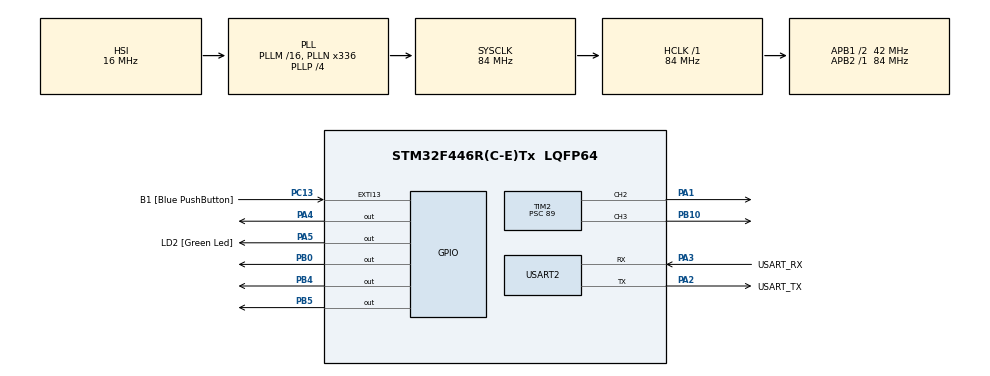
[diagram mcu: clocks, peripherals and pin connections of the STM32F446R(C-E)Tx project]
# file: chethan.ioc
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Mcu.Family=STM32F4
Mcu.Name=STM32F446R(C-E)Tx
Mcu.Package=LQFP64
NVIC.PriorityGroup=NVIC_PRIORITYGROUP_0
PA1.Signal=S_TIM2_CH2
PA13.GPIO_Label=TMS
PA13.Mode=Serial_Wire
PA13.Signal=SYS_JTMS-SWDIO
PA14.GPIO_Label=TCK
PA14.Mode=Serial_Wire
PA14.Signal=SYS_JTCK-SWCLK
PA2.GPIO_Label=USART_TX
PA2.Mode=Asynchronous
PA2.Signal=USART2_TX
PA3.GPIO_Label=USART_RX
PA3.Mode=Asynchronous
PA3.Signal=USART2_RX
PA4.Signal=GPIO_Output
PA5.GPIO_Label=LD2 [Green Led]
PA5.Signal=GPIO_Output
PB0.Signal=GPIO_Output
PB10.Signal=S_TIM2_CH3
PB3.GPIO_Label=SWO
PB3.Signal=SYS_JTDO-SWO
PB4.Signal=GPIO_Output
PB5.Signal=GPIO_Output
PC13.GPIO_Label=B1 [Blue PushButton]
PC13.GPIO_ModeDefaultEXTI=GPIO_MODE_IT_FALLING
PC13.Signal=GPXTI13
PC14-OSC32_IN.Mode=LSE-External-Oscillator
PC14-OSC32_IN.Signal=RCC_OSC32_IN
PC15-OSC32_OUT.Mode=LSE-External-Oscillator
PC15-OSC32_OUT.Signal=RCC_OSC32_OUT
PH0-OSC_IN.Mode=HSE-External-Oscillator
PH0-OSC_IN.Signal=RCC_OSC_IN
PH1-OSC_OUT.Mode=HSE-External-Oscillator
PH1-OSC_OUT.Signal=RCC_OSC_OUT
ProjectManager.HeapSize=0x200
ProjectManager.StackSize=0x400
ProjectManager.TargetToolchain=STM32CubeIDE
RCC.48MHZClocksFreq_Value=84000000
RCC.AHBFreq_Value=84000000
RCC.APB1CLKDivider=RCC_HCLK_DIV2
RCC.APB1Freq_Value=42000000
RCC.APB1TimFreq_Value=84000000
RCC.APB2Freq_Value=84000000
RCC.APB2TimFreq_Value=84000000
RCC.CortexFreq_Value=84000000
RCC.FLatency-AdvancedSettings=FLASH_LATENCY_2
RCC.HCLKFreq_Value=84000000
RCC.HSE_VALUE=8000000
RCC.HSI_VALUE=16000000
RCC.PLLN=336
RCC.PLLP=RCC_PLLP_DIV4
RCC.SYSCLKFreq_VALUE=84000000
RCC.SYSCLKSource=RCC_SYSCLKSOURCE_PLLCLK
RCC.USBFreq_Value=168000000
RCC.VCOOutputFreq_Value=336000000
SH.S_TIM2_CH2.0=TIM2_CH2,PWM Generation2 CH2
SH.S_TIM2_CH3.0=TIM2_CH3,PWM Generation3 CH3
TIM2.Channel-PWM\ Generation2\ CH2=TIM_CHANNEL_2
TIM2.Channel-PWM\ Generation3\ CH3=TIM_CHANNEL_3
TIM2.Period=1999
TIM2.Prescaler=89
USART2.VirtualMode=VM_ASYNC
VP_TIM2_VS_ClockSourceINT.Mode=Internal
board=NUCLEO-F446RE

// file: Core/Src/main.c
/* USER CODE BEGIN Header */
/**
  ******************************************************************************
  * @file           : main.c
  * @brief          : Main program body
  ******************************************************************************
  * @attention
  *
  * Copyright (c) 2025 STMicroelectronics.
  * All rights reserved.
  *
  * This software is licensed under terms that can be found in the LICENSE file
  * in the root directory of this software component.
  * If no LICENSE file comes with this software, it is provided AS-IS.
  *
  ******************************************************************************
  */
/* USER CODE END Header */
#include "main.h"

TIM_HandleTypeDef htim2;

UART_HandleTypeDef huart2;

void SystemClock_Config(void);
static void MX_GPIO_Init(void);
static void MX_USART2_UART_Init(void);
static void MX_TIM2_Init(void);

int main(void)
{

  /* MCU Configuration--------------------------------------------------------*/

  /* Reset of all peripherals, Initializes the Flash interface and the Systick. */
  HAL_Init();

  /* Configure the system clock */
  SystemClock_Config();

  /* Initialize all configured peripherals */
  MX_GPIO_Init();
  MX_USART2_UART_Init();
  MX_TIM2_Init();
  /* USER CODE BEGIN 2 */
  HAL_TIM_PWM_Start(&htim2, TIM_CHANNEL_3);
  HAL_TIM_PWM_Start(&htim2, TIM_CHANNEL_2); //PA1 TIM2 CH2
  //PB10 TIM2 CH3

  /* USER CODE END 2 */

  /* Infinite loop */
  /* USER CODE BEGIN WHILE */
  while (1)
  {
	  HAL_GPIO_WritePin(GPIOB, GPIO_PIN_4, 0);
	      HAL_GPIO_WritePin(GPIOB, GPIO_PIN_5, 1);
	      // Set the speed slow
	      __HAL_TIM_SET_COMPARE(&htim2,TIM_CHANNEL_3, 1000);
	      HAL_Delay(2000);
	      // Set the speed medium
	      __HAL_TIM_SET_COMPARE(&htim2,TIM_CHANNEL_3, 1500);
	      HAL_Delay(2000);
	      // Set the speed high
	      __HAL_TIM_SET_COMPARE(&htim2,TIM_CHANNEL_3, 2000);
	      HAL_Delay(2000);
	      // Stop the motor
	      HAL_GPIO_WritePin(GPIOB, GPIO_PIN_4, 0);
	      HAL_GPIO_WritePin(GPIOB, GPIO_PIN_5, 0);
	      HAL_Delay(2000);
	      // Set the rotation direction forward
	      HAL_GPIO_WritePin(GPIOB, GPIO_PIN_4, 1);
	      HAL_GPIO_WritePin(GPIOB, GPIO_PIN_5, 0);
	      // Set the speed slow
	      __HAL_TIM_SET_COMPARE(&htim2,TIM_CHANNEL_3, 1000);
	      HAL_Delay(2000);
	      // Set the speed medium
	      __HAL_TIM_SET_COMPARE(&htim2,TIM_CHANNEL_3, 1500);
	      HAL_Delay(2000);
	      // Set the speed high
	      __HAL_TIM_SET_COMPARE(&htim2,TIM_CHANNEL_3, 2000);
	      HAL_Delay(2000);
	      // Stop the motor
	      HAL_GPIO_WritePin(GPIOB, GPIO_PIN_4, 0);
	      HAL_GPIO_WritePin(GPIOB, GPIO_PIN_5, 0);
	      HAL_Delay(2000);
	      // Set the rotation direction backward
	         HAL_GPIO_WritePin(GPIOA, GPIO_PIN_4, 0);
	         HAL_GPIO_WritePin(GPIOB, GPIO_PIN_0, 1);
	         // Set the speed slow
	         __HAL_TIM_SET_COMPARE(&htim2,TIM_CHANNEL_2, 1000);
	         HAL_Delay(2000);
	         // Set the speed medium
	         __HAL_TIM_SET_COMPARE(&htim2,TIM_CHANNEL_2, 1500);
	         HAL_Delay(2000);
	         // Set the speed high
	         __HAL_TIM_SET_COMPARE(&htim2,TIM_CHANNEL_2, 2000);
	         HAL_Delay(2000);
	         // Stop the motor
	         HAL_GPIO_WritePin(GPIOA, GPIO_PIN_4, 0);
	         HAL_GPIO_WritePin(GPIOB, GPIO_PIN_0, 0);
	         HAL_Delay(2000);
	         // Set the rotation direction forward
	         HAL_GPIO_WritePin(GPIOA, GPIO_PIN_4, 1);
	         HAL_GPIO_WritePin(GPIOB, GPIO_PIN_0, 0);
	         // Set the speed slow
	         __HAL_TIM_SET_COMPARE(&htim2,TIM_CHANNEL_2, 1000);
	         HAL_Delay(2000);
	         // Set the speed medium
	         __HAL_TIM_SET_COMPARE(&htim2,TIM_CHANNEL_2, 1500);
	         HAL_Delay(2000);
	         // Set the speed high
	         __HAL_TIM_SET_COMPARE(&htim2,TIM_CHANNEL_2, 2000);
	         HAL_Delay(2000);
	         // Stop the motor
	         HAL_GPIO_WritePin(GPIOA, GPIO_PIN_4, 0);
	         HAL_GPIO_WritePin(GPIOB, GPIO_PIN_0, 0);
	         HAL_Delay(2000);

    /* USER CODE END WHILE */

  }
}

void SystemClock_Config(void)
{
  RCC_OscInitTypeDef RCC_OscInitStruct = {0};
  RCC_ClkInitTypeDef RCC_ClkInitStruct = {0};

  /** Configure the main internal regulator output voltage
  */
  __HAL_RCC_PWR_CLK_ENABLE();
  __HAL_PWR_VOLTAGESCALING_CONFIG(PWR_REGULATOR_VOLTAGE_SCALE3);

  /** Initializes the RCC Oscillators according to the specified parameters
  * in the RCC_OscInitTypeDef structure.
  */
  RCC_OscInitStruct.OscillatorType = RCC_OSCILLATORTYPE_HSI;
  RCC_OscInitStruct.HSIState = RCC_HSI_ON;
  RCC_OscInitStruct.HSICalibrationValue = RCC_HSICALIBRATION_DEFAULT;
  RCC_OscInitStruct.PLL.PLLState = RCC_PLL_ON;
  RCC_OscInitStruct.PLL.PLLSource = RCC_PLLSOURCE_HSI;
  RCC_OscInitStruct.PLL.PLLM = 16;
  RCC_OscInitStruct.PLL.PLLN = 336;
  RCC_OscInitStruct.PLL.PLLP = RCC_PLLP_DIV4;
  RCC_OscInitStruct.PLL.PLLQ = 2;
  RCC_OscInitStruct.PLL.PLLR = 2;
  if (HAL_RCC_OscConfig(&RCC_OscInitStruct) != HAL_OK)
  {
    Error_Handler();
  }

  /** Initializes the CPU, AHB and APB buses clocks
  */
  RCC_ClkInitStruct.ClockType = RCC_CLOCKTYPE_HCLK|RCC_CLOCKTYPE_SYSCLK
                              |RCC_CLOCKTYPE_PCLK1|RCC_CLOCKTYPE_PCLK2;
  RCC_ClkInitStruct.SYSCLKSource = RCC_SYSCLKSOURCE_PLLCLK;
  RCC_ClkInitStruct.AHBCLKDivider = RCC_SYSCLK_DIV1;
  RCC_ClkInitStruct.APB1CLKDivider = RCC_HCLK_DIV2;
  RCC_ClkInitStruct.APB2CLKDivider = RCC_HCLK_DIV1;

  if (HAL_RCC_ClockConfig(&RCC_ClkInitStruct, FLASH_LATENCY_2) != HAL_OK)
  {
    Error_Handler();
  }
}

static void MX_TIM2_Init(void)
{

  TIM_ClockConfigTypeDef sClockSourceConfig = {0};
  TIM_MasterConfigTypeDef sMasterConfig = {0};
  TIM_OC_InitTypeDef sConfigOC = {0};

  htim2.Instance = TIM2;
  htim2.Init.Prescaler = 89;
  htim2.Init.CounterMode = TIM_COUNTERMODE_UP;
  htim2.Init.Period = 1999;
  htim2.Init.ClockDivision = TIM_CLOCKDIVISION_DIV1;
  htim2.Init.AutoReloadPreload = TIM_AUTORELOAD_PRELOAD_DISABLE;
  if (HAL_TIM_Base_Init(&htim2) != HAL_OK)
  {
    Error_Handler();
  }
  sClockSourceConfig.ClockSource = TIM_CLOCKSOURCE_INTERNAL;
  if (HAL_TIM_ConfigClockSource(&htim2, &sClockSourceConfig) != HAL_OK)
  {
    Error_Handler();
  }
  if (HAL_TIM_PWM_Init(&htim2) != HAL_OK)
  {
    Error_Handler();
  }
  sMasterConfig.MasterOutputTrigger = TIM_TRGO_RESET;
  sMasterConfig.MasterSlaveMode = TIM_MASTERSLAVEMODE_DISABLE;
  if (HAL_TIMEx_MasterConfigSynchronization(&htim2, &sMasterConfig) != HAL_OK)
  {
    Error_Handler();
  }
  sConfigOC.OCMode = TIM_OCMODE_PWM1;
  sConfigOC.Pulse = 0;
  sConfigOC.OCPolarity = TIM_OCPOLARITY_HIGH;
  sConfigOC.OCFastMode = TIM_OCFAST_DISABLE;
  if (HAL_TIM_PWM_ConfigChannel(&htim2, &sConfigOC, TIM_CHANNEL_2) != HAL_OK)
  {
    Error_Handler();
  }
  if (HAL_TIM_PWM_ConfigChannel(&htim2, &sConfigOC, TIM_CHANNEL_3) != HAL_OK)
  {
    Error_Handler();
  }
  HAL_TIM_MspPostInit(&htim2);

}

static void MX_USART2_UART_Init(void)
{

  huart2.Instance = USART2;
  huart2.Init.BaudRate = 115200;
  huart2.Init.WordLength = UART_WORDLENGTH_8B;
  huart2.Init.StopBits = UART_STOPBITS_1;
  huart2.Init.Parity = UART_PARITY_NONE;
  huart2.Init.Mode = UART_MODE_TX_RX;
  huart2.Init.HwFlowCtl = UART_HWCONTROL_NONE;
  huart2.Init.OverSampling = UART_OVERSAMPLING_16;
  if (HAL_UART_Init(&huart2) != HAL_OK)
  {
    Error_Handler();
  }

}

static void MX_GPIO_Init(void)
{
  GPIO_InitTypeDef GPIO_InitStruct = {0};

  /* GPIO Ports Clock Enable */
  __HAL_RCC_GPIOC_CLK_ENABLE();
  __HAL_RCC_GPIOH_CLK_ENABLE();
  __HAL_RCC_GPIOA_CLK_ENABLE();
  __HAL_RCC_GPIOB_CLK_ENABLE();

  /*Configure GPIO pin Output Level */
  HAL_GPIO_WritePin(GPIOA, GPIO_PIN_4|LD2_Pin, GPIO_PIN_RESET);

  /*Configure GPIO pin Output Level */
  HAL_GPIO_WritePin(GPIOB, GPIO_PIN_0|GPIO_PIN_4|GPIO_PIN_5, GPIO_PIN_RESET);

  /*Configure GPIO pin : B1_Pin */
  GPIO_InitStruct.Pin = B1_Pin;
  GPIO_InitStruct.Mode = GPIO_MODE_IT_FALLING;
  GPIO_InitStruct.Pull = GPIO_NOPULL;
  HAL_GPIO_Init(B1_GPIO_Port, &GPIO_InitStruct);

  /*Configure GPIO pins : PA4 LD2_Pin */
  GPIO_InitStruct.Pin = GPIO_PIN_4|LD2_Pin;
  GPIO_InitStruct.Mode = GPIO_MODE_OUTPUT_PP;
  GPIO_InitStruct.Pull = GPIO_NOPULL;
  GPIO_InitStruct.Speed = GPIO_SPEED_FREQ_LOW;
  HAL_GPIO_Init(GPIOA, &GPIO_InitStruct);

  /*Configure GPIO pins : PB0 PB4 PB5 */
  GPIO_InitStruct.Pin = GPIO_PIN_0|GPIO_PIN_4|GPIO_PIN_5;
  GPIO_InitStruct.Mode = GPIO_MODE_OUTPUT_PP;
  GPIO_InitStruct.Pull = GPIO_NOPULL;
  GPIO_InitStruct.Speed = GPIO_SPEED_FREQ_LOW;
  HAL_GPIO_Init(GPIOB, &GPIO_InitStruct);

}

void Error_Handler(void)
{
  __disable_irq();
  while (1)
  {
  }
}
